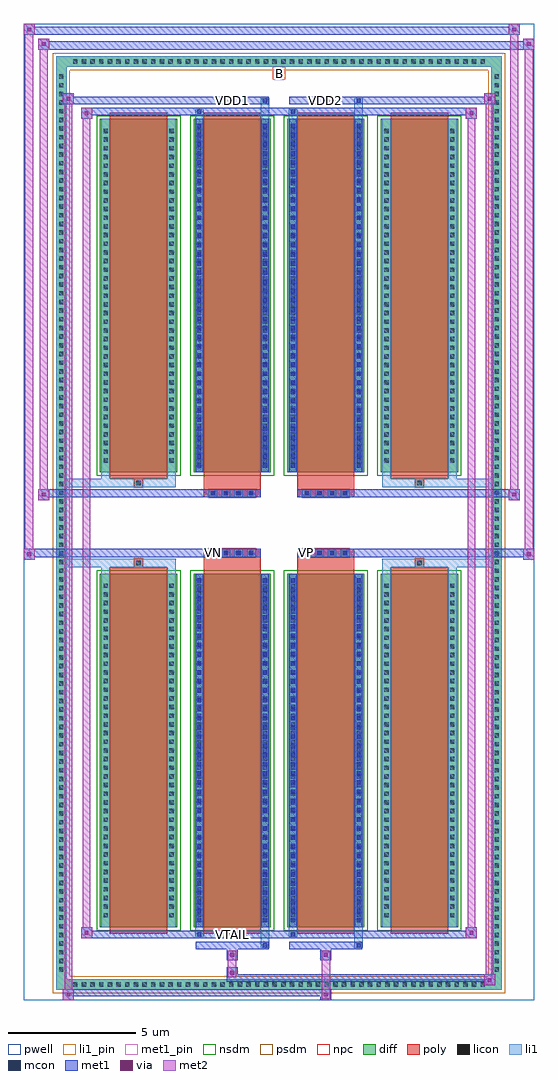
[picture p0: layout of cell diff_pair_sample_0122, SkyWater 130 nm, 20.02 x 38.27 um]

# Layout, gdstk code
import gdstk
lib = gdstk.Library(unit=1e-6, precision=5e-09)
def R(c, l, rs):  # rectangles x0, y0, x1, y1
    for r in rs: c.add(gdstk.rectangle(r[:2], r[2:], *l))
def A(c, l, x, y, w, h, nx, ny, dx, dy):  # array of equal rectangles
    R(c, l, [(x+i*dx, y+j*dy, x+i*dx+w, y+j*dy+h) for i in range(nx) for j in range(ny)])
def P(c, l, *ps):  # polygons
    for p in ps: c.add(gdstk.Polygon(p, *l))
pwell = (64, 44)
diff = (65, 20)
poly = (66, 20)
licon = (66, 44)
li1_pin = (67, 16)
li1 = (67, 20)
mcon = (67, 44)
met1_pin = (68, 16)
met1 = (68, 20)
via = (68, 44)
met2 = (69, 20)
nsdm = (93, 44)
psdm = (94, 20)
npc = (95, 20)

diff_pair_sample_0122 = lib.new_cell('diff_pair_sample_0122')
R(diff_pair_sample_0122, pwell, [(-10.01,-18.7,10.01,19.57), (-7.33,-16.89,-0.01,-0.805), (0.01,-16.89,7.33,-0.805), (-7.33,0.805,-0.01,16.89), (0.01,0.805,7.33,16.89)])
A(diff_pair_sample_0122, diff, -8.195, -18.3, 0.41, 0.41, 48, 2, 0.34, 36.19)
A(diff_pair_sample_0122, diff, -8.74, -17.715, 0.41, 0.41, 1, 104, 0, 0.34)
A(diff_pair_sample_0122, diff, 8.33, -17.715, 0.41, 0.41, 1, 104, 0, 0.34)
A(diff_pair_sample_0122, diff, -7.02, -15.845, 3.03, 13.86, 4, 2, 3.67, 17.83)
R(diff_pair_sample_0122, diff, [(-8.195,-18.3,8.195,-17.89), (-8.74,-17.715,-8.33,17.715), (8.33,-17.715,8.74,17.715), (-8.195,17.89,8.195,18.3)])
P(diff_pair_sample_0122, diff, [(8.74,18.3),(-8.74,18.3),(-8.74,-17.89),(-8.33,-17.89),(-8.33,17.89),(8.33,17.89),(8.33,-17.89),(-8.33,-17.89),(-8.74,-17.89),(-8.74,-18.3),(8.74,-18.3)])
A(diff_pair_sample_0122, poly, -6.63, -16.095, 2.25, 14.36, 4, 2, 3.67, 17.83)
A(diff_pair_sample_0122, poly, -2.75, -1.335, 0.33, 0.33, 4, 2, 0.5, 2.34)
A(diff_pair_sample_0122, poly, 0.92, -1.335, 0.33, 0.33, 4, 2, 0.5, 2.34)
R(diff_pair_sample_0122, poly, [(-5.67,-1.735,-5.34,-1.405), (-5.67,-1.735,-5.34,-1.405), (-2.96,-1.735,-0.71,-1.335), (0.71,-1.735,2.96,-1.335), (5.34,-1.735,5.67,-1.405), (5.34,-1.735,5.67,-1.405), (-2.96,-1.335,-0.71,-1.005), (0.71,-1.335,2.96,-1.005), (-2.96,1.005,-0.71,1.335), (0.71,1.005,2.96,1.335), (-2.96,1.335,-0.71,1.735), (0.71,1.335,2.96,1.735), (-5.67,1.405,-5.34,1.735), (-5.67,1.405,-5.34,1.735), (5.34,1.405,5.67,1.735), (5.34,1.405,5.67,1.735)])
A(diff_pair_sample_0122, licon, -8.075, -18.18, 0.17, 0.17, 48, 2, 0.34, 36.19)
A(diff_pair_sample_0122, licon, -8.62, -17.595, 0.17, 0.17, 1, 104, 0, 0.34)
A(diff_pair_sample_0122, licon, 8.45, -17.595, 0.17, 0.17, 1, 104, 0, 0.34)
A(diff_pair_sample_0122, licon, -6.88, -15.46, 0.17, 0.17, 1, 39, 0, 0.34)
A(diff_pair_sample_0122, licon, -4.3, -15.46, 0.17, 0.17, 1, 39, 0, 0.34)
A(diff_pair_sample_0122, licon, -3.21, -15.46, 0.17, 0.17, 1, 39, 0, 0.34)
A(diff_pair_sample_0122, licon, -0.63, -15.46, 0.17, 0.17, 1, 39, 0, 0.34)
A(diff_pair_sample_0122, licon, 0.46, -15.46, 0.17, 0.17, 1, 39, 0, 0.34)
A(diff_pair_sample_0122, licon, 3.04, -15.46, 0.17, 0.17, 1, 39, 0, 0.34)
A(diff_pair_sample_0122, licon, 4.13, -15.46, 0.17, 0.17, 1, 39, 0, 0.34)
A(diff_pair_sample_0122, licon, 6.71, -15.46, 0.17, 0.17, 1, 39, 0, 0.34)
A(diff_pair_sample_0122, licon, -2.67, -1.255, 0.17, 0.17, 4, 2, 0.5, 2.34)
A(diff_pair_sample_0122, licon, 1, -1.255, 0.17, 0.17, 4, 2, 0.5, 2.34)
A(diff_pair_sample_0122, licon, -6.88, 2.37, 0.17, 0.17, 1, 39, 0, 0.34)
A(diff_pair_sample_0122, licon, -4.3, 2.37, 0.17, 0.17, 1, 39, 0, 0.34)
A(diff_pair_sample_0122, licon, -3.21, 2.37, 0.17, 0.17, 1, 39, 0, 0.34)
A(diff_pair_sample_0122, licon, -0.63, 2.37, 0.17, 0.17, 1, 39, 0, 0.34)
A(diff_pair_sample_0122, licon, 0.46, 2.37, 0.17, 0.17, 1, 39, 0, 0.34)
A(diff_pair_sample_0122, licon, 3.04, 2.37, 0.17, 0.17, 1, 39, 0, 0.34)
A(diff_pair_sample_0122, licon, 4.13, 2.37, 0.17, 0.17, 1, 39, 0, 0.34)
A(diff_pair_sample_0122, licon, 6.71, 2.37, 0.17, 0.17, 1, 39, 0, 0.34)
R(diff_pair_sample_0122, licon, [(-5.59,-1.655,-5.42,-1.485), (5.42,-1.655,5.59,-1.485), (-5.59,1.485,-5.42,1.655), (5.42,1.485,5.59,1.655)])
R(diff_pair_sample_0122, li1_pin, [(-0.25,17.39,0.25,17.89)])
A(diff_pair_sample_0122, li1, -8.155, -18.26, 0.33, 0.33, 48, 2, 0.34, 36.19)
A(diff_pair_sample_0122, li1, -8.7, -17.675, 0.33, 0.33, 1, 104, 0, 0.34)
A(diff_pair_sample_0122, li1, 8.37, -17.675, 0.33, 0.33, 1, 104, 0, 0.34)
A(diff_pair_sample_0122, li1, -3.21, -15.66, 0.17, 0.17, 1, 38, 0, 0.36)
A(diff_pair_sample_0122, li1, -0.63, -15.66, 0.17, 0.17, 1, 38, 0, 0.36)
A(diff_pair_sample_0122, li1, 0.46, -15.66, 0.17, 0.17, 1, 38, 0, 0.36)
A(diff_pair_sample_0122, li1, 3.04, -15.66, 0.17, 0.17, 1, 38, 0, 0.36)
A(diff_pair_sample_0122, li1, -6.96, -15.54, 0.33, 0.33, 1, 39, 0, 0.34)
A(diff_pair_sample_0122, li1, -4.38, -15.54, 0.33, 0.33, 1, 39, 0, 0.34)
A(diff_pair_sample_0122, li1, -3.29, -15.54, 0.33, 0.33, 1, 39, 0, 0.34)
A(diff_pair_sample_0122, li1, -0.71, -15.54, 0.33, 0.33, 1, 39, 0, 0.34)
A(diff_pair_sample_0122, li1, 0.38, -15.54, 0.33, 0.33, 1, 39, 0, 0.34)
A(diff_pair_sample_0122, li1, 2.96, -15.54, 0.33, 0.33, 1, 39, 0, 0.34)
A(diff_pair_sample_0122, li1, 4.05, -15.54, 0.33, 0.33, 1, 39, 0, 0.34)
A(diff_pair_sample_0122, li1, 6.63, -15.54, 0.33, 0.33, 1, 39, 0, 0.34)
A(diff_pair_sample_0122, li1, -2.75, -1.335, 0.33, 0.33, 4, 2, 0.5, 2.34)
A(diff_pair_sample_0122, li1, 0.92, -1.335, 0.33, 0.33, 4, 2, 0.5, 2.34)
A(diff_pair_sample_0122, li1, -3.21, 2.17, 0.17, 0.17, 1, 38, 0, 0.36)
A(diff_pair_sample_0122, li1, -0.63, 2.17, 0.17, 0.17, 1, 38, 0, 0.36)
A(diff_pair_sample_0122, li1, 0.46, 2.17, 0.17, 0.17, 1, 38, 0, 0.36)
A(diff_pair_sample_0122, li1, 3.04, 2.17, 0.17, 0.17, 1, 38, 0, 0.36)
A(diff_pair_sample_0122, li1, -6.96, 2.29, 0.33, 0.33, 1, 39, 0, 0.34)
A(diff_pair_sample_0122, li1, -4.38, 2.29, 0.33, 0.33, 1, 39, 0, 0.34)
A(diff_pair_sample_0122, li1, -3.29, 2.29, 0.33, 0.33, 1, 39, 0, 0.34)
A(diff_pair_sample_0122, li1, -0.71, 2.29, 0.33, 0.33, 1, 39, 0, 0.34)
A(diff_pair_sample_0122, li1, 0.38, 2.29, 0.33, 0.33, 1, 39, 0, 0.34)
A(diff_pair_sample_0122, li1, 2.96, 2.29, 0.33, 0.33, 1, 39, 0, 0.34)
A(diff_pair_sample_0122, li1, 4.05, 2.29, 0.33, 0.33, 1, 39, 0, 0.34)
A(diff_pair_sample_0122, li1, 6.63, 2.29, 0.33, 0.33, 1, 39, 0, 0.34)
R(diff_pair_sample_0122, li1, [(-8.74,-18.3,-8.33,-17.89), (-8.74,-18.3,-8.33,-17.89), (-8.33,-18.3,8.33,-17.89), (8.33,-18.3,8.74,-17.89), (8.33,-18.3,8.74,-17.89), (-8.74,-17.89,-8.33,17.89), (8.33,-17.89,8.74,17.89), (-0.71,-16.65,-0.38,-15.845), (-0.63,-16.65,-0.46,-16.48), (2.96,-16.65,3.29,-15.845), (3.04,-16.65,3.21,-16.48), (-3.29,-16.22,-2.96,-15.845), (-3.21,-16.22,-3.04,-16.05), (0.38,-16.22,0.71,-15.845), (0.46,-16.22,0.63,-16.05), (-6.96,-15.845,-6.63,-1.985), (-4.38,-15.845,-4.05,-1.985), (-3.29,-15.845,-2.96,-1.985), (-0.71,-15.845,-0.38,-1.985), (0.38,-15.845,0.71,-1.985), (2.96,-15.845,3.29,-1.985), (4.05,-15.845,4.38,-1.985), (6.63,-15.845,6.96,-1.985), (-3.21,-15.66,-3.04,-2.17), (-0.63,-15.66,-0.46,-2.17), (0.46,-15.66,0.63,-2.17), (3.04,-15.66,3.21,-2.17), (-6.96,-1.985,-6.63,-1.405), (-4.38,-1.985,-4.05,-1.405), (4.05,-1.985,4.38,-1.405), (6.63,-1.985,6.96,-1.405), (-8.74,-1.735,-5.67,-1.405), (-6.96,-1.735,-5.67,-1.405), (-5.67,-1.735,-5.34,-1.405), (-5.34,-1.735,-4.05,-1.405), (4.05,-1.735,5.34,-1.405), (5.34,-1.735,5.67,-1.405), (5.34,-1.735,8.74,-1.405), (5.67,-1.735,6.96,-1.405), (-8.74,1.405,-5.67,1.735), (-6.96,1.405,-5.67,1.735), (-6.96,1.405,-6.63,1.985), (-5.67,1.405,-5.34,1.735), (-5.34,1.405,-4.05,1.735), (-4.38,1.405,-4.05,1.985), (4.05,1.405,5.34,1.735), (4.05,1.405,4.38,1.985), (5.34,1.405,5.67,1.735), (5.34,1.405,8.74,1.735), (5.67,1.405,6.96,1.735), (6.63,1.405,6.96,1.985), (-6.96,1.985,-6.63,15.845), (-4.38,1.985,-4.05,15.845), (-3.29,1.985,-2.96,15.845), (-0.71,1.985,-0.38,15.845), (0.38,1.985,0.71,15.845), (2.96,1.985,3.29,15.845), (4.05,1.985,4.38,15.845), (6.63,1.985,6.96,15.845), (-3.21,2.17,-3.04,15.66), (-0.63,2.17,-0.46,15.66), (0.46,2.17,0.63,15.66), (3.04,2.17,3.21,15.66), (-3.29,15.845,-2.96,16.22), (-0.71,15.845,-0.38,16.65), (0.38,15.845,0.71,16.22), (2.96,15.845,3.29,16.65), (-3.21,16.05,-3.04,16.22), (0.46,16.05,0.63,16.22), (-0.63,16.48,-0.46,16.65), (3.04,16.48,3.21,16.65), (-8.74,17.89,-8.33,18.3), (-8.74,17.89,-8.33,18.3), (-8.33,17.89,8.33,18.3), (8.33,17.89,8.74,18.3), (8.33,17.89,8.74,18.3)])
A(diff_pair_sample_0122, mcon, -3.21, -15.66, 0.17, 0.17, 1, 38, 0, 0.36)
A(diff_pair_sample_0122, mcon, -0.63, -15.66, 0.17, 0.17, 1, 38, 0, 0.36)
A(diff_pair_sample_0122, mcon, 0.46, -15.66, 0.17, 0.17, 1, 38, 0, 0.36)
A(diff_pair_sample_0122, mcon, 3.04, -15.66, 0.17, 0.17, 1, 38, 0, 0.36)
A(diff_pair_sample_0122, mcon, -2.67, -1.255, 0.17, 0.17, 4, 2, 0.5, 2.34)
A(diff_pair_sample_0122, mcon, 1, -1.255, 0.17, 0.17, 4, 2, 0.5, 2.34)
A(diff_pair_sample_0122, mcon, -3.21, 2.17, 0.17, 0.17, 1, 38, 0, 0.36)
A(diff_pair_sample_0122, mcon, -0.63, 2.17, 0.17, 0.17, 1, 38, 0, 0.36)
A(diff_pair_sample_0122, mcon, 0.46, 2.17, 0.17, 0.17, 1, 38, 0, 0.36)
A(diff_pair_sample_0122, mcon, 3.04, 2.17, 0.17, 0.17, 1, 38, 0, 0.36)
R(diff_pair_sample_0122, mcon, [(-0.63,-16.65,-0.46,-16.48), (3.04,-16.65,3.21,-16.48), (-3.21,-16.22,-3.04,-16.05), (0.46,-16.22,0.63,-16.05), (-3.21,16.05,-3.04,16.22), (0.46,16.05,0.63,16.22), (-0.63,16.48,-0.46,16.65), (3.04,16.48,3.21,16.65)])
R(diff_pair_sample_0122, met1_pin, [(-1.97,-16.26,-1.7,-15.99), (-2.72,-1.295,-2.45,-1.025), (0.95,-1.295,1.22,-1.025), (-1.97,16.44,-1.7,16.71), (1.7,16.44,1.97,16.71)])
A(diff_pair_sample_0122, met1, -3.27, -15.72, 0.29, 0.29, 1, 38, 0, 0.36)
A(diff_pair_sample_0122, met1, -0.69, -15.72, 0.29, 0.29, 1, 38, 0, 0.36)
A(diff_pair_sample_0122, met1, 0.4, -15.72, 0.29, 0.29, 1, 38, 0, 0.36)
A(diff_pair_sample_0122, met1, 2.98, -15.72, 0.29, 0.29, 1, 38, 0, 0.36)
A(diff_pair_sample_0122, met1, -2.73, -1.315, 0.29, 0.29, 4, 2, 0.5, 2.34)
A(diff_pair_sample_0122, met1, 0.94, -1.315, 0.29, 0.29, 4, 2, 0.5, 2.34)
A(diff_pair_sample_0122, met1, -3.27, 2.11, 0.29, 0.29, 1, 38, 0, 0.36)
A(diff_pair_sample_0122, met1, -0.69, 2.11, 0.29, 0.29, 1, 38, 0, 0.36)
A(diff_pair_sample_0122, met1, 0.4, 2.11, 0.29, 0.29, 1, 38, 0, 0.36)
A(diff_pair_sample_0122, met1, 2.98, 2.11, 0.29, 0.29, 1, 38, 0, 0.36)
R(diff_pair_sample_0122, met1, [(-8.47,-18.7,-8.04,-18.27), (1.62,-18.7,2.05,-18.27), (-8.47,-18.56,2.05,-18.27), (8.04,-18.13,8.47,-17.7), (-2.05,-17.99,8.47,-17.7), (-2.05,-17.85,-1.62,-17.42), (-2.05,-17.14,-1.62,-16.71), (1.62,-17.14,2.05,-16.71), (-3.27,-16.71,-0.4,-16.42), (-0.69,-16.71,-0.4,-16.42), (0.4,-16.71,3.27,-16.42), (2.98,-16.71,3.27,-16.42), (-7.76,-16.28,-7.33,-15.85), (-7.76,-16.28,-3.27,-15.99), (-3.27,-16.28,-2.98,-15.99), (-3.27,-16.28,-0.4,-15.99), (-0.4,-16.28,0.4,-15.99), (0.4,-16.28,0.69,-15.99), (0.4,-16.28,3.27,-15.99), (3.27,-16.28,7.76,-15.99), (7.33,-16.28,7.76,-15.85), (-3.27,-15.845,-2.98,-1.985), (-0.69,-15.845,-0.4,-1.985), (0.4,-15.845,0.69,-1.985), (2.98,-15.845,3.27,-1.985), (-10.01,-1.435,-9.58,-1.005), (9.58,-1.435,10.01,-1.005), (-10.01,-1.335,-0.71,-1.005), (-2.96,-1.335,-0.71,-1.005), (0.71,-1.335,2.96,-1.005), (0.71,-1.335,10.01,-1.005), (-9.44,0.905,-9.01,1.335), (9.01,0.905,9.44,1.335), (-9.44,1.005,-2.96,1.335), (-2.96,1.005,-0.71,1.335), (0.71,1.005,2.96,1.335), (2.96,1.005,9.44,1.335), (-3.27,1.985,-2.98,15.845), (-0.69,1.985,-0.4,15.845), (0.4,1.985,0.69,15.845), (2.98,1.985,3.27,15.845), (-7.76,15.85,-7.33,16.28), (7.33,15.85,7.76,16.28), (-7.76,15.99,-3.27,16.28), (-3.27,15.99,-2.98,16.28), (-3.27,15.99,-0.4,16.28), (-0.4,15.99,0.4,16.28), (0.4,15.99,0.69,16.28), (0.4,15.99,3.27,16.28), (3.27,15.99,7.76,16.28), (-8.47,16.42,-8.04,16.85), (-8.47,16.42,-3.27,16.71), (-3.27,16.42,-0.4,16.71), (-0.69,16.42,-0.4,16.71), (0.4,16.42,3.27,16.71), (2.98,16.42,3.27,16.71), (3.27,16.42,8.47,16.71), (8.04,16.42,8.47,16.85), (-9.44,18.57,-9.01,19), (-9.44,18.57,-7.33,18.9), (-7.33,18.57,7.33,18.9), (7.33,18.57,10.01,18.9), (9.58,18.57,10.01,19), (-10.01,19.14,-9.58,19.57), (-10.01,19.14,-7.33,19.47), (-7.33,19.14,7.33,19.47), (7.33,19.14,9.44,19.47), (9.01,19.14,9.44,19.57)])
R(diff_pair_sample_0122, via, [(-8.33,-18.56,-8.18,-18.41), (1.76,-18.56,1.91,-18.41), (8.18,-17.99,8.33,-17.84), (-1.91,-17.71,-1.76,-17.56), (-1.91,-17,-1.76,-16.85), (1.76,-17,1.91,-16.85), (-7.62,-16.14,-7.47,-15.99), (7.47,-16.14,7.62,-15.99), (-9.87,-1.295,-9.72,-1.145), (9.72,-1.295,9.87,-1.145), (-9.3,1.045,-9.15,1.195), (9.15,1.045,9.3,1.195), (-7.62,15.99,-7.47,16.14), (7.47,15.99,7.62,16.14), (-8.33,16.56,-8.18,16.71), (8.18,16.56,8.33,16.71), (-9.3,18.71,-9.15,18.86), (9.72,18.71,9.87,18.86), (-9.87,19.28,-9.72,19.43), (9.15,19.28,9.3,19.43)])
R(diff_pair_sample_0122, met2, [(-8.47,-18.7,-8.04,-18.27), (-8.4,-18.7,-8.11,16.85), (-8.11,-18.7,-8.04,-18.27), (-8.42,-18.65,-8.09,-18.32), (1.67,-18.65,2,-18.32), (1.67,-18.32,2,-17.09), (8.04,-18.13,8.47,-17.7), (8.11,-18.13,8.4,16.85), (8.4,-18.13,8.47,-17.7), (8.09,-18.08,8.42,-17.75), (-2,-17.8,-1.67,-17.47), (-2,-17.47,-1.67,-17.09), (-2,-17.09,-1.67,-16.76), (1.67,-17.09,2,-16.76), (-7.76,-16.28,-7.33,-15.85), (-7.69,-16.28,-7.4,16.28), (-7.4,-16.28,-7.33,-15.85), (7.33,-16.28,7.76,-15.85), (7.4,-16.28,7.69,16.28), (7.69,-16.28,7.76,-15.85), (-7.71,-16.23,-7.38,-15.9), (7.38,-16.23,7.71,-15.9), (-10.01,-1.435,-9.58,-1.005), (-9.96,-1.435,-9.63,19.57), (-9.63,-1.435,-9.58,-1.005), (9.58,-1.435,10.01,-1.005), (9.63,-1.435,9.96,19), (9.96,-1.435,10.01,-1.005), (-9.96,-1.385,-9.63,-1.055), (9.63,-1.385,9.96,-1.055), (-9.44,0.905,-9.01,1.335), (-9.39,0.905,-9.06,19), (-9.06,0.905,-9.01,1.335), (9.01,0.905,9.44,1.335), (9.06,0.905,9.39,19.57), (9.39,0.905,9.44,1.335), (-9.39,0.955,-9.06,1.285), (9.06,0.955,9.39,1.285), (-7.76,15.85,-7.33,16.28), (-7.4,15.85,-7.33,16.28), (7.33,15.85,7.76,16.28), (7.69,15.85,7.76,16.28), (-7.71,15.9,-7.38,16.23), (7.38,15.9,7.71,16.23), (-8.47,16.42,-8.04,16.85), (-8.11,16.42,-8.04,16.85), (8.04,16.42,8.47,16.85), (8.4,16.42,8.47,16.85), (-8.42,16.47,-8.09,16.8), (8.09,16.47,8.42,16.8), (-9.44,18.57,-9.01,19), (-9.06,18.57,-9.01,19), (9.58,18.57,10.01,19), (9.96,18.57,10.01,19), (-9.39,18.62,-9.06,18.95), (9.63,18.62,9.96,18.95), (-10.01,19.14,-9.58,19.57), (-9.63,19.14,-9.58,19.57), (9.01,19.14,9.44,19.57), (9.39,19.14,9.44,19.57), (-9.96,19.19,-9.63,19.52), (9.06,19.19,9.39,19.52)])
A(diff_pair_sample_0122, nsdm, -7.15, -15.975, 3.29, 14.12, 4, 2, 3.67, 17.83)
P(diff_pair_sample_0122, psdm, [(8.87,18.43),(-8.87,18.43),(-8.87,-17.76),(-8.2,-17.76),(-8.2,17.76),(8.2,17.76),(8.2,-17.76),(-8.2,-17.76),(-8.87,-17.76),(-8.87,-18.43),(8.87,-18.43)])
A(diff_pair_sample_0122, npc, -2.77, -1.355, 0.37, 0.37, 4, 2, 0.5, 2.34)
A(diff_pair_sample_0122, npc, 0.9, -1.355, 0.37, 0.37, 4, 2, 0.5, 2.34)
R(diff_pair_sample_0122, npc, [(-5.69,-1.755,-5.32,-1.385), (5.32,-1.755,5.69,-1.385), (-2.77,-1.355,-1.9,-0.985), (-2.77,-1.355,-1.9,-0.985), (-2.27,-1.355,-1.4,-0.985), (-2.27,-1.355,-1.4,-0.985), (-1.77,-1.355,-0.9,-0.985), (-1.77,-1.355,-0.9,-0.985), (0.9,-1.355,1.77,-0.985), (0.9,-1.355,1.77,-0.985), (1.4,-1.355,2.27,-0.985), (1.4,-1.355,2.27,-0.985), (1.9,-1.355,2.77,-0.985), (1.9,-1.355,2.77,-0.985), (-2.77,0.985,-1.9,1.355), (-2.77,0.985,-1.9,1.355), (-2.27,0.985,-1.4,1.355), (-2.27,0.985,-1.4,1.355), (-1.77,0.985,-0.9,1.355), (-1.77,0.985,-0.9,1.355), (0.9,0.985,1.77,1.355), (0.9,0.985,1.77,1.355), (1.4,0.985,2.27,1.355), (1.4,0.985,2.27,1.355), (1.9,0.985,2.77,1.355), (1.9,0.985,2.77,1.355), (-5.69,1.385,-5.32,1.755), (5.32,1.385,5.69,1.755)])
diff_pair_sample_0122.add(gdstk.Label('VTAIL', (-1.835,-16.125), layer=68, texttype=5))
diff_pair_sample_0122.add(gdstk.Label('VN', (-2.585,-1.16), layer=68, texttype=5))
diff_pair_sample_0122.add(gdstk.Label('VP', (1.085,-1.16), layer=68, texttype=5))
diff_pair_sample_0122.add(gdstk.Label('B', (0,17.64), layer=67, texttype=5))
diff_pair_sample_0122.add(gdstk.Label('VDD2', (1.835,16.575), layer=68, texttype=5))
diff_pair_sample_0122.add(gdstk.Label('VDD1', (-1.835,16.575), layer=68, texttype=5))

lib.write_gds('diff_pair_sample_0122.gds')
